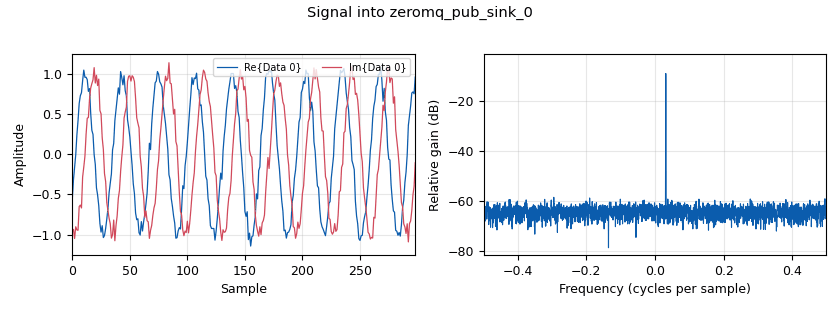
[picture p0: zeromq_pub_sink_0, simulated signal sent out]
options:
  parameters:
    author: muaddib
    generate_options: no_gui
    id: siggen_xmlrpc_server_streaming
    output_language: python
    title: SIggen and XMLRPC Server
  states: {}

blocks:
- name: amp
  id: variable
  parameters:
    value: '1'
  states: {}
- name: rmt_freq
  id: variable
  parameters:
    comment: |-
      This variable name is used in the 'callback' field of the 
      xmlrpc_client block in  'siggen_controller_xmlrpc_client.grc'
      which gives  that flowgraph remote control over this variable via 
      XMLRPC 'SET' methods. 

      All variables in this flowgraph are callable in the same way due to
      the presence of the XMLRPC Server block.
    value: '1000'
  states: {}
- name: samp_rate
  id: variable
  parameters:
    value: 32e3
  states: {}
- name: analog_noise_source_x_0
  id: analog_noise_source_x
  parameters:
    amp: '0.1'
    noise_type: analog.GR_GAUSSIAN
    seed: '0'
    type: complex
  states: {}
- name: analog_sig_source_x_0
  id: analog_sig_source_x
  parameters:
    amp: amp
    freq: rmt_freq
    offset: '0'
    phase: '0'
    samp_rate: samp_rate
    type: complex
    waveform: analog.GR_COS_WAVE
  states: {}
- name: blocks_add_xx_0
  id: blocks_add_xx
  parameters:
    type: complex
  states: {}
- name: blocks_throttle_0
  id: blocks_throttle
  parameters:
    samples_per_second: samp_rate
    type: complex
  states: {}
- name: xmlrpc_server_0
  id: xmlrpc_server
  parameters:
    addr: localhost
    port: '8000'
  states: {}
- name: zeromq_pub_sink_0
  id: zeromq_pub_sink
  parameters:
    address: tcp://127.0.0.1:5000
    pass_tags: 'True'
    timeout: '100'
    type: complex
  states: {}

connections:
- [analog_noise_source_x_0, '0', blocks_add_xx_0, '1']
- [analog_sig_source_x_0, '0', blocks_add_xx_0, '0']
- [blocks_add_xx_0, '0', blocks_throttle_0, '0']
- [blocks_throttle_0, '0', zeromq_pub_sink_0, '0']

metadata:
  file_format: 1
